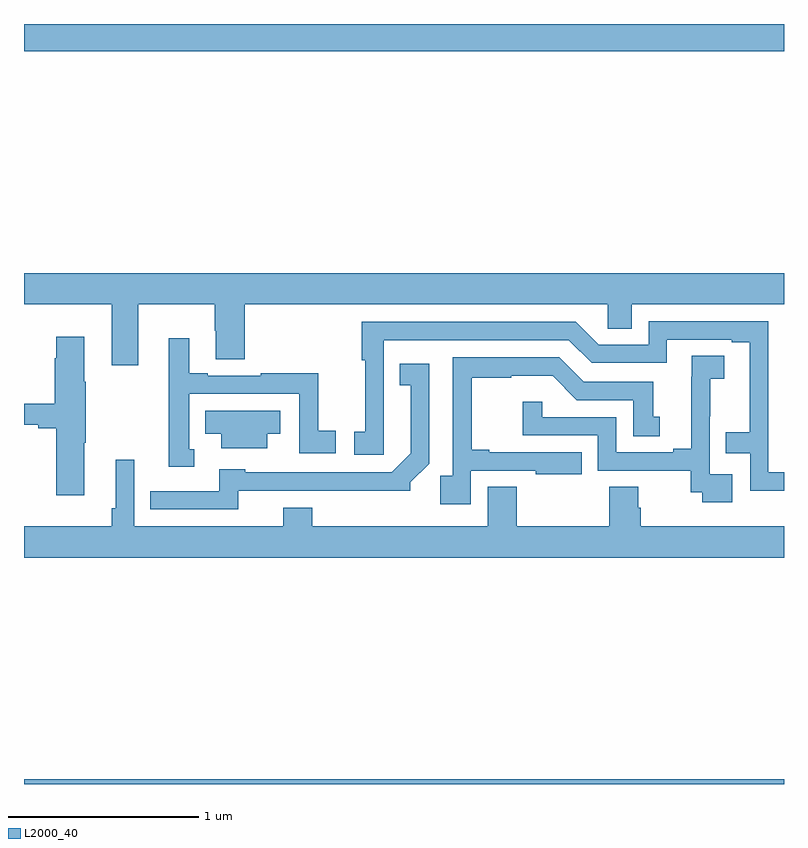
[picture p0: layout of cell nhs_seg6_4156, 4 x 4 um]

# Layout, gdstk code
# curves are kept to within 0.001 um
import gdstk
lib = gdstk.Library(unit=1e-6, precision=1e-09)
def R(c, l, rs):  # rectangles x0, y0, x1, y1
    for r in rs: c.add(gdstk.rectangle(r[:2], r[2:], *l))
def P(c, l, *ps):  # polygons
    for p in ps: c.add(gdstk.Polygon(p, *l))
L2000_40 = (2000, 40)

nhs_seg6_4156 = lib.new_cell('nhs_seg6_4156')
R(nhs_seg6_4156, L2000_40, [(357,923.5,361,923.524), (357,927.356,361,927.5)])
P(nhs_seg6_4156, L2000_40, [(357,926.024),(357.461,926.024),(357.461,925.704),(357.601,925.704),(357.601,926.024),(358.003,926.024),(358.003,925.886),(358.01,925.886),(358.01,925.735),(358.163,925.735),(358.163,926.024),(360.072,926.024),(360.072,925.897),(360.199,925.897),(360.199,926.024),(361,926.024),(361,926.188),(357,926.188)],
  [(361,925.14),(360.918,925.14),(360.918,925.935),(360.288,925.935),(360.288,925.812),(360.024,925.812),(359.904,925.932),(358.777,925.932),(358.777,925.729),(358.795,925.729),(358.795,925.353),(358.737,925.353),(358.737,925.233),(358.894,925.233),(358.893,925.836),(359.868,925.836),(359.988,925.716),(360.384,925.716),(360.384,925.839),(360.725,925.839),(360.725,925.824),(360.821,925.824),(360.821,925.351),(360.694,925.351),(360.694,925.242),(360.822,925.242),(360.822,925.044),(361,925.044)],
  [(357.316,925.295),(357.324,925.295),(357.324,925.616),(357.316,925.616),(357.316,925.855),(357.17,925.855),(357.17,925.742),(357.163,925.742),(357.163,925.501),(357,925.501),(357,925.391),(357.074,925.391),(357.074,925.372),(357.17,925.372),(357.17,925.02),(357.316,925.02)],
  [(357.895,925.263),(357.87,925.263),(357.87,925.554),(358.449,925.554),(358.449,925.242),(358.642,925.242),(358.642,925.358),(358.548,925.358),(358.548,925.663),(358.246,925.663),(358.246,925.65),(357.967,925.65),(357.967,925.663),(357.871,925.663),(357.871,925.846),(357.761,925.846),(357.761,925.601),(357.762,925.601),(357.762,925.169),(357.895,925.169)],
  [(360.727,925.131),(360.609,925.131),(360.609,925.435),(360.611,925.435),(360.611,925.633),(360.685,925.633),(360.685,925.754),(360.514,925.754),(360.514,925.643),(360.512,925.643),(360.512,925.265),(360.416,925.265),(360.416,925.245),(360.117,925.245),(360.117,925.431),(359.727,925.431),(359.727,925.513),(359.626,925.513),(359.626,925.335),(360.021,925.335),(360.021,925.149),(360.508,925.149),(360.508,925.035),(360.571,925.035),(360.571,924.984),(360.727,924.984)],
  [(359.352,925.149),(359.693,925.149),(359.693,925.13),(359.936,925.13),(359.936,925.245),(359.449,925.245),(359.449,925.258),(359.357,925.258),(359.357,925.638),(359.564,925.638),(359.564,925.649),(359.782,925.649),(359.91,925.521),(360.206,925.521),(360.206,925.33),(360.346,925.33),(360.346,925.434),(360.313,925.434),(360.313,925.617),(359.946,925.617),(359.817,925.746),(359.256,925.746),(359.256,925.123),(359.191,925.123),(359.191,924.972),(359.352,924.972)],
  [(358.128,925.044),(359.034,925.043),(359.034,925.087),(359.133,925.186),(359.133,925.711),(358.978,925.711),(358.978,925.598),(359.036,925.598),(359.036,925.241),(358.935,925.14),(358.164,925.14),(358.164,925.156),(358.028,925.156),(358.028,925.041),(357.664,925.041),(357.664,924.945),(358.128,924.945)],
  [(358.279,925.343),(358.348,925.343),(358.348,925.465),(357.955,925.465),(357.955,925.343),(358.037,925.343),(358.037,925.268),(358.279,925.268)],
  [(361,924.856),(360.245,924.856),(360.245,924.954),(360.232,924.954),(360.232,925.064),(360.08,925.064),(360.08,924.856),(359.594,924.856),(359.594,925.064),(359.441,925.064),(359.441,924.856),(358.517,924.856),(358.517,924.955),(358.364,924.955),(358.364,924.856),(357.579,924.856),(357.579,925.207),(357.482,925.207),(357.482,924.952),(357.463,924.952),(357.463,924.856),(357,924.856),(357,924.692),(361,924.692)])

lib.write_gds('nhs_seg6_4156.gds')
